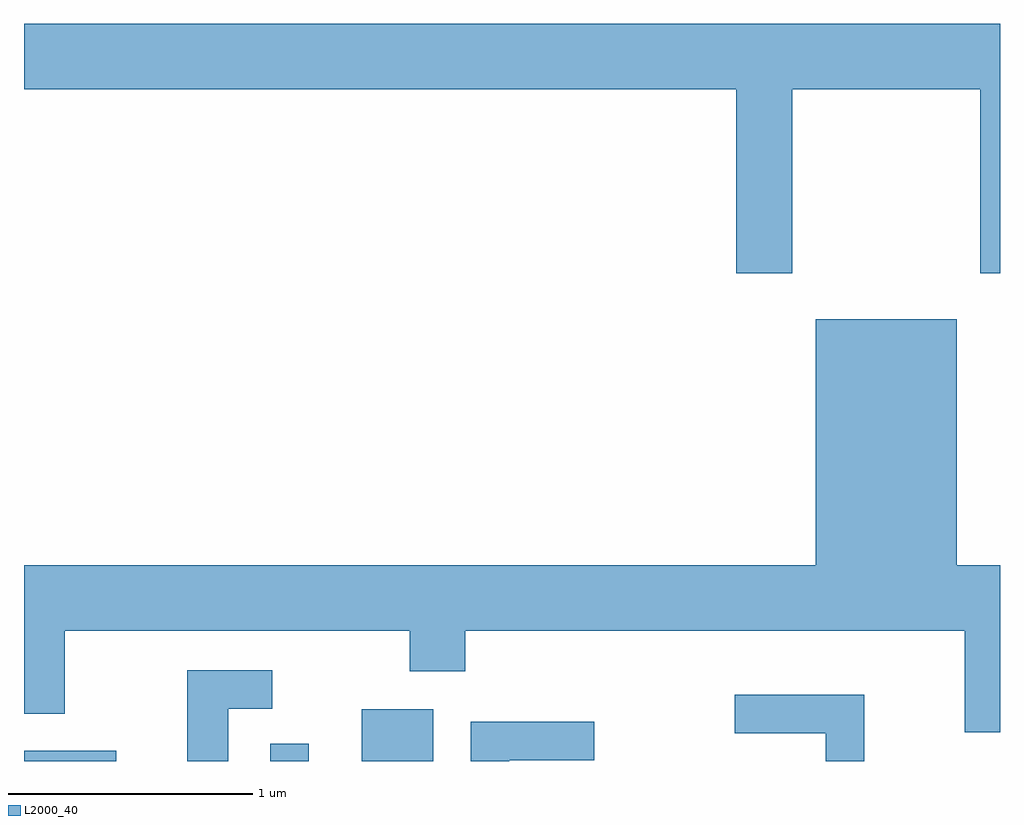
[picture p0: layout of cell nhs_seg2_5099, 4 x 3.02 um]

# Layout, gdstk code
import gdstk
lib = gdstk.Library(unit=1e-6, precision=1e-09)
def R(c, l, rs):  # rectangles x0, y0, x1, y1
    for r in rs: c.add(gdstk.rectangle(r[:2], r[2:], *l))
def P(c, l, *ps):  # polygons
    for p in ps: c.add(gdstk.Polygon(p, *l))
L2000_40 = (2000, 40)

nhs_seg2_5099 = lib.new_cell('nhs_seg2_5099')
R(nhs_seg2_5099, L2000_40, [(335.611,1027.802,335.989,1027.844), (336.621,1027.802,336.779,1027.873), (336.996,1027.802,337.289,1028.014)])
P(nhs_seg2_5099, L2000_40, [(338.759,1030.556),(339.531,1030.556),(339.531,1029.801),(339.611,1029.801),(339.611,1030.824),(335.611,1030.824),(335.611,1030.556),(338.531,1030.556),(338.531,1029.801),(338.759,1029.801)],
  [(339.611,1028.604),(339.434,1028.604),(339.434,1029.614),(338.856,1029.614),(338.856,1028.604),(335.611,1028.604),(335.611,1027.996),(335.779,1027.996),(335.779,1028.336),(337.191,1028.336),(337.191,1028.171),(337.419,1028.171),(337.419,1028.336),(339.466,1028.336),(339.466,1027.921),(339.611,1027.921)],
  [(336.449,1028.016),(336.628,1028.016),(336.628,1028.174),(336.281,1028.174),(336.281,1027.802),(336.449,1027.802)],
  [(339.054,1028.074),(338.523,1028.074),(338.523,1027.916),(338.896,1027.916),(338.896,1027.802),(339.054,1027.802)],
  [(337.599,1027.806),(337.948,1027.806),(337.948,1027.964),(337.441,1027.964),(337.441,1027.802),(337.599,1027.802)])

lib.write_gds('nhs_seg2_5099.gds')
